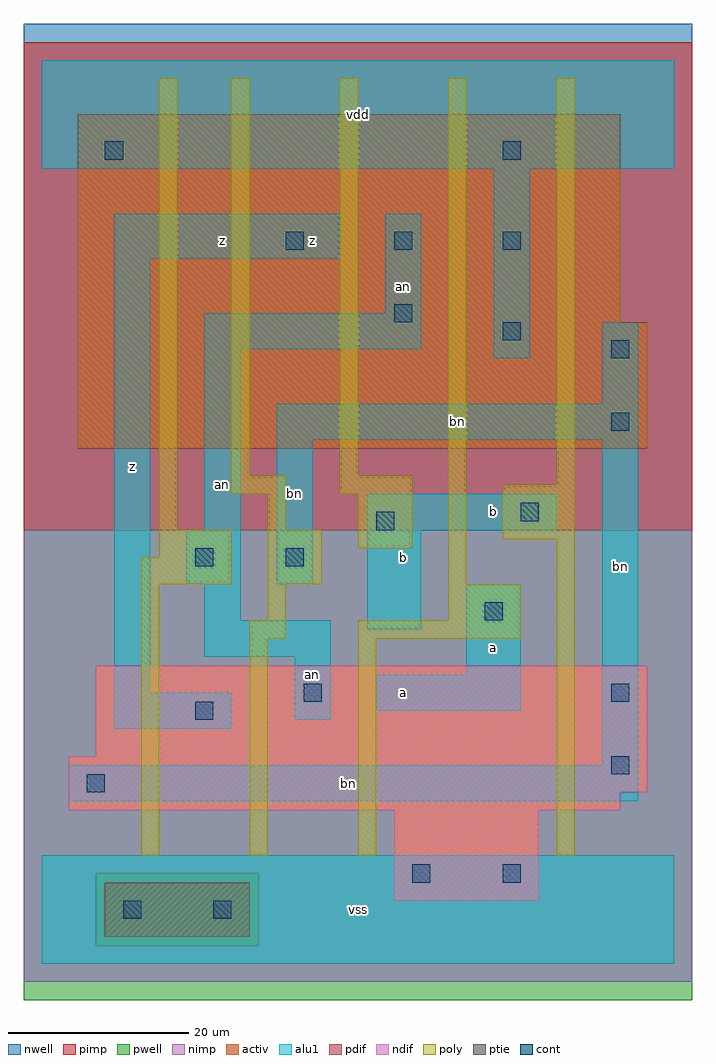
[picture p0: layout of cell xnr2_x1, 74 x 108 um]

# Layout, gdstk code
import gdstk
lib = gdstk.Library(unit=1e-6, precision=1e-09)
def R(c, l, rs):  # rectangles x0, y0, x1, y1
    for r in rs: c.add(gdstk.rectangle(r[:2], r[2:], *l))
def A(c, l, x, y, w, h, nx, ny, dx, dy):  # array of equal rectangles
    R(c, l, [(x+i*dx, y+j*dy, x+i*dx+w, y+j*dy+h) for i in range(nx) for j in range(ny)])
ndif = (3, 0)
pdif = (4, 0)
ptie = (6, 0)
cont = (25, 0)
pwell = (41, 0)
nwell = (42, 0)
activ = (43, 0)
pimp = (44, 0)
nimp = (45, 0)
poly = (46, 0)
alu1 = (49, 0)

xnr2_x1 = lib.new_cell('xnr2_x1')
R(xnr2_x1, ndif, [(39,7,55,17), (3,17,64,19), (3,19,67,23), (6,23,67,33)])
R(xnr2_x1, pdif, [(4,57,67,71), (4,71,64,94)])
R(xnr2_x1, ptie, [(7,3,23,9)])
A(xnr2_x1, cont, 27, 79, 2, 2, 3, 1, 12, 0)
R(xnr2_x1, cont, [(9,5,11,7), (19,5,21,7), (41,9,43,11), (51,9,53,11), (5,19,7,21), (63,21,65,23), (17,27,19,29), (29,29,31,31), (63,29,65,31), (49,38,51,40), (17,44,19,46), (27,44,29,46), (37,48,39,50), (53,49,55,51), (63,59,65,61), (63,67,65,69), (51,69,53,71), (39,71,41,73), (7,89,9,91), (51,89,53,91)])
R(xnr2_x1, pwell, [(-2,-4,72,48)])
R(xnr2_x1, nwell, [(-2,48,72,104)])
R(xnr2_x1, activ, [(7,3,23,9), (39,7,55,17), (3,17,64,19), (3,19,67,23), (6,23,67,33), (4,57,67,71), (4,71,64,94)])
R(xnr2_x1, pimp, [(6,2,24,10), (-2,48,72,102)])
R(xnr2_x1, nimp, [(-2,-2,72,2), (-2,2,6,10), (24,2,72,10), (-2,10,72,48)])
R(xnr2_x1, poly, [(11,12,13,42), (23,12,25,36), (35,12,37,36), (57,12,59,47), (23,36,27,38), (35,36,53,38), (25,38,27,42), (45,38,53,42), (11,42,21,45), (25,42,31,48), (45,42,47,98), (13,45,21,48), (35,46,41,52), (51,47,59,53), (13,48,15,98), (25,48,27,52), (21,52,27,54), (33,52,41,54), (57,53,59,98), (21,54,23,98), (33,54,35,98)])
R(xnr2_x1, alu1, [(0,0,70,12), (3,18,66,22), (62,22,66,58), (8,26,21,30), (28,27,32,34), (37,28,53,32), (8,30,12,78), (47,32,53,42), (18,34,32,38), (36,37,42,48), (18,38,22,42), (16,42,22,48), (26,42,30,58), (18,48,22,68), (36,48,57,52), (26,58,66,62), (62,62,66,71), (50,67,54,88), (18,68,42,72), (38,72,42,83), (8,78,33,83), (0,88,70,100)])
xnr2_x1.add(gdstk.Label('z', (10,55), layer=49, texttype=0))
xnr2_x1.add(gdstk.Label('an', (30,32), layer=49, texttype=0))
xnr2_x1.add(gdstk.Label('bn', (28,52), layer=49, texttype=0))
xnr2_x1.add(gdstk.Label('an', (20,53), layer=49, texttype=0))
xnr2_x1.add(gdstk.Label('z', (20,80), layer=49, texttype=0))
xnr2_x1.add(gdstk.Label('z', (30,80), layer=49, texttype=0))
xnr2_x1.add(gdstk.Label('vss', (35,6), layer=49, texttype=0))
xnr2_x1.add(gdstk.Label('b', (40,45), layer=49, texttype=0))
xnr2_x1.add(gdstk.Label('a', (40,30), layer=49, texttype=0))
xnr2_x1.add(gdstk.Label('a', (50,35), layer=49, texttype=0))
xnr2_x1.add(gdstk.Label('b', (50,50), layer=49, texttype=0))
xnr2_x1.add(gdstk.Label('an', (40,75), layer=49, texttype=0))
xnr2_x1.add(gdstk.Label('vdd', (35,94), layer=49, texttype=0))
xnr2_x1.add(gdstk.Label('bn', (34,20), layer=49, texttype=0))
xnr2_x1.add(gdstk.Label('bn', (64,44), layer=49, texttype=0))
xnr2_x1.add(gdstk.Label('bn', (46,60), layer=49, texttype=0))

lib.write_gds('xnr2_x1.gds')
